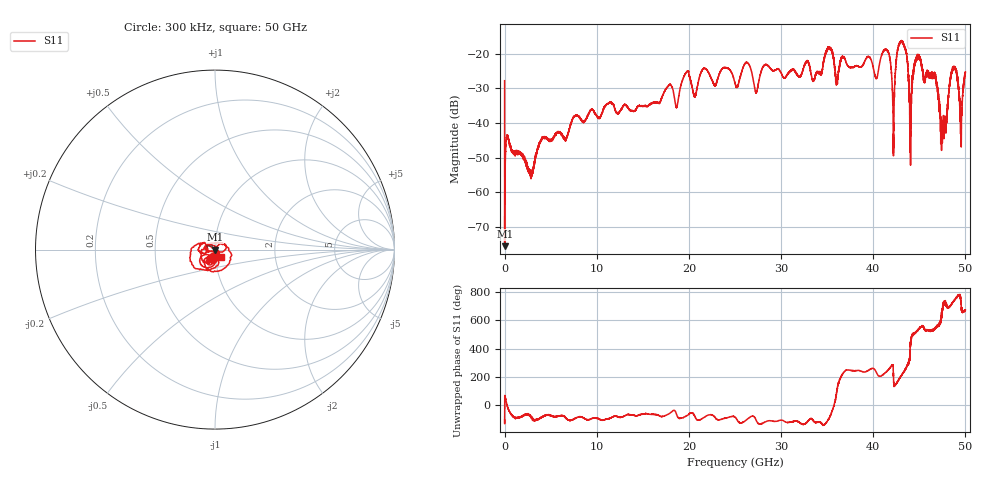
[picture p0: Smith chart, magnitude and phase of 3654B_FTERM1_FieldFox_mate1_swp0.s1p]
!Created with skrf (http://scikit-rf.org).
# Hz S RI R 50.0
!freq ReS11 ImS11
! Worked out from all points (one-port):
!   10001 points, 300 kHz to 50 GHz, reference 50 ohm
!   lowest |S11| = -75.6 dB at 5.3 MHz (marker M1), VSWR 1.00, Z = 50 - j0.0129 ohm
!   |S11| at or under -10 dB: start of sweep to end of sweep
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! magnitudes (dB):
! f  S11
! 300 kHz  -27.8
! 5.3 MHz  -75.6
! 255.3 MHz  -43.9
! 2.79 GHz  -54.8
! 4.075 GHz  -44.4
! 6.25 GHz  -43.3
! 12.5 GHz  -36.7
! 18.75 GHz  -34.7
! 19.75 GHz  -25.2
! 20.62 GHz  -32.3
! 25 GHz  -28.5
! 31.25 GHz  -24.4
! 33.56 GHz  -27.5
! 35.23 GHz  -18.1
! 36.05 GHz  -28.2
! 37.5 GHz  -24.0
! 40.34 GHz  -27.2
! 41.43 GHz  -18.7
! 42.19 GHz  -43.1
! 43.05 GHz  -16.4
! 43.75 GHz  -23.4
! 44.05 GHz  -40.8
! 44.81 GHz  -20.8
! 46.6 GHz  -25.6
! 47.58 GHz  -40.4
! 48.63 GHz  -24.3
! 49.5 GHz  -38.4
! 50 GHz  -25.2
